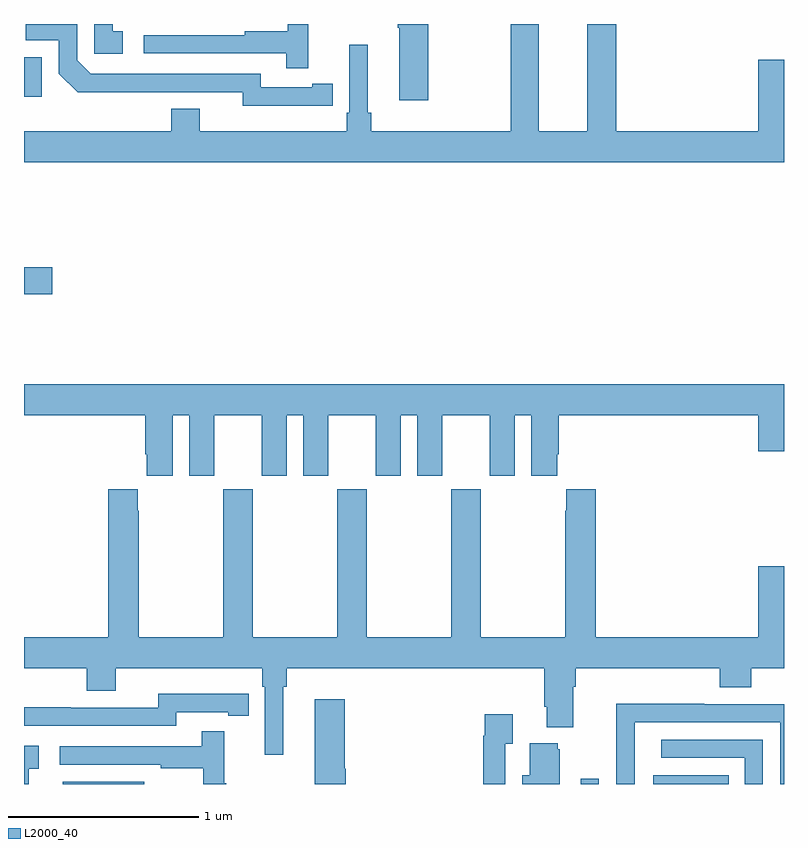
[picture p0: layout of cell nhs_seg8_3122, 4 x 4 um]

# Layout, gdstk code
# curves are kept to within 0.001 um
import gdstk
lib = gdstk.Library(unit=1e-6, precision=1e-09)
def R(c, l, rs):  # rectangles x0, y0, x1, y1
    for r in rs: c.add(gdstk.rectangle(r[:2], r[2:], *l))
def P(c, l, *ps):  # polygons
    for p in ps: c.add(gdstk.Polygon(p, *l))
L2000_40 = (2000, 40)

nhs_seg8_3122 = lib.new_cell('nhs_seg8_3122')
R(nhs_seg8_3122, L2000_40, [(305.204,1107.9,305.632,1107.913), (307.929,1107.9,308.025,1107.928), (308.312,1107.9,308.708,1107.946), (305,1110.478,305.149,1110.62), (305,1111.518,305.094,1111.725)])
P(nhs_seg8_3122, L2000_40, [(305.521,1111.863),(305.468,1111.863),(305.468,1111.9),(305.37,1111.9),(305.37,1111.743),(305.521,1111.743)],
  [(307.128,1111.9),(306.967,1111.9),(306.967,1111.879),(306.974,1111.879),(306.974,1111.5),(307.128,1111.5)],
  [(306.497,1111.9),(306.387,1111.9),(306.387,1111.862),(306.163,1111.862),(306.163,1111.842),(305.631,1111.842),(305.631,1111.746),(306.379,1111.746),(306.379,1111.668),(306.497,1111.668)],
  [(306.518,1111.47),(306.626,1111.47),(306.626,1111.586),(306.518,1111.586),(306.518,1111.566),(306.246,1111.566),(306.246,1111.638),(305.352,1111.638),(305.28,1111.71),(305.28,1111.9),(305.01,1111.9),(305.01,1111.815),(305.184,1111.815),(305.184,1111.638),(305.282,1111.541),(306.15,1111.542),(306.15,1111.469)],
  [(309,1111.711),(308.864,1111.711),(308.864,1111.336),(308.117,1111.336),(308.117,1111.9),(307.964,1111.9),(307.964,1111.336),(307.708,1111.336),(307.708,1111.9),(307.561,1111.9),(307.561,1111.336),(306.827,1111.336),(306.827,1111.432),(306.808,1111.432),(306.808,1111.792),(306.711,1111.792),(306.711,1111.432),(306.698,1111.432),(306.698,1111.336),(305.926,1111.336),(305.926,1111.453),(305.774,1111.453),(305.774,1111.336),(305,1111.336),(305,1111.172),(309,1111.172)],
  [(305.782,1109.84),(305.87,1109.84),(305.87,1109.523),(306.001,1109.523),(306.001,1109.84),(306.251,1109.84),(306.251,1109.523),(306.382,1109.523),(306.382,1109.84),(306.47,1109.84),(306.47,1109.523),(306.601,1109.523),(306.601,1109.84),(306.851,1109.84),(306.851,1109.523),(306.982,1109.523),(306.982,1109.84),(307.07,1109.84),(307.07,1109.523),(307.201,1109.523),(307.201,1109.84),(307.451,1109.84),(307.451,1109.523),(307.582,1109.523),(307.582,1109.84),(307.67,1109.84),(307.67,1109.523),(307.807,1109.523),(307.807,1109.635),(307.814,1109.635),(307.814,1109.84),(308.864,1109.84),(308.864,1109.652),(309,1109.652),(309,1110.004),(305,1110.004),(305,1109.84),(305.639,1109.84),(305.639,1109.635),(305.645,1109.635),(305.645,1109.523),(305.782,1109.523)],
  [(306.364,1108.412),(306.383,1108.412),(306.383,1108.508),(307.739,1108.508),(307.739,1108.306),(307.751,1108.306),(307.751,1108.199),(307.891,1108.199),(307.891,1108.412),(307.904,1108.412),(307.904,1108.508),(308.663,1108.508),(308.663,1108.409),(308.828,1108.409),(308.828,1108.508),(309,1108.508),(309,1109.047),(308.864,1109.047),(308.864,1108.672),(308.009,1108.672),(308.009,1109.452),(307.853,1109.452),(307.853,1109.339),(307.849,1109.339),(307.849,1108.672),(307.404,1108.672),(307.404,1109.452),(307.249,1109.452),(307.249,1108.672),(306.804,1108.672),(306.804,1109.452),(306.649,1109.452),(306.649,1108.672),(306.204,1108.672),(306.204,1109.452),(306.049,1109.452),(306.049,1108.672),(305.604,1108.672),(305.604,1109.339),(305.599,1109.339),(305.599,1109.452),(305.444,1109.452),(305.444,1108.672),(305,1108.672),(305,1108.508),(305.33,1108.508),(305.33,1108.391),(305.482,1108.391),(305.482,1108.508),(306.254,1108.508),(306.254,1108.412),(306.267,1108.412),(306.267,1108.053),(306.364,1108.053)],
  [(305.802,1108.278),(306.074,1108.278),(306.074,1108.258),(306.182,1108.258),(306.182,1108.374),(306.074,1108.374),(306.074,1108.375),(305.706,1108.375),(305.706,1108.302),(305.246,1108.302),(305.246,1108.304),(305,1108.304),(305,1108.206),(305.802,1108.206)],
  [(306.694,1107.981),(306.689,1107.981),(306.689,1108.345),(306.53,1108.345),(306.53,1107.9),(306.694,1107.9)],
  [(308.214,1107.97),(308.215,1107.97),(308.215,1108.224),(308.979,1108.224),(308.979,1107.9),(309,1107.9),(309,1108.32),(308.579,1108.32),(308.579,1108.322),(308.116,1108.322),(308.116,1108.015),(308.118,1108.015),(308.118,1107.9),(308.214,1107.9)],
  [(307.533,1108.111),(307.573,1108.111),(307.573,1108.267),(307.425,1108.267),(307.425,1108.154),(307.417,1108.154),(307.417,1107.9),(307.533,1107.9)],
  [(306.064,1107.905),(306.053,1107.905),(306.053,1108.177),(305.935,1108.177),(305.935,1108.098),(305.187,1108.098),(305.187,1108.002),(305.719,1108.002),(305.719,1107.982),(305.943,1107.982),(305.943,1107.9),(306.064,1107.9)],
  [(308.889,1108.134),(308.355,1108.134),(308.355,1108.038),(308.793,1108.038),(308.793,1107.9),(308.889,1107.9)],
  [(307.819,1108.083),(307.808,1108.083),(307.808,1108.114),(307.661,1108.114),(307.661,1107.946),(307.622,1107.946),(307.622,1107.9),(307.819,1107.9)],
  [(305.024,1107.981),(305.077,1107.981),(305.077,1108.102),(305,1108.102),(305,1107.9),(305.024,1107.9)])

lib.write_gds('nhs_seg8_3122.gds')
